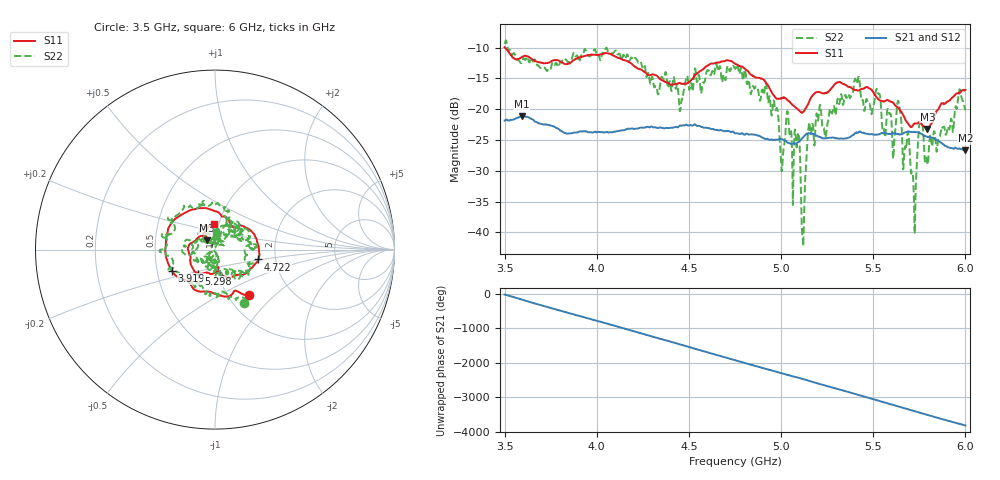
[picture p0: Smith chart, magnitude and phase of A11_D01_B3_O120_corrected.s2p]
! Created with skrf 1.9.0 (http://scikit-rf.org).
# Hz S RI R 50.0
!freq ReS11 ImS11 ReS21 ImS21 ReS12 ImS12 ReS22 ImS22
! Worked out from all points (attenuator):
!   1601 points, 3.5 GHz to 6 GHz, reference 50 ohm
!   highest |S21| = -21.17 dB at 3.592 GHz (marker M1); lowest = -26.7 dB at 6 GHz (marker M2)
!   lowest |S11| = -23.2 dB at 5.794 GHz (marker M3), VSWR 1.15, Z = 45.3 + j4.67 ohm
!   |S11| at or under -10 dB: 3.502 GHz to end of sweep
!   |S22| runs from -42.2 to -8.8 dB; largest |S21 - S12| = 0.0012
!   S11 on the Smith chart (normalised r, x): 3.5 GHz: 1.25, -0.71; 3.919 GHz: 0.60, -0.15; 4.722 GHz: 1.62, -0.19; 5.298 GHz: 0.80, -0.22; 6 GHz: 0.95, +0.28
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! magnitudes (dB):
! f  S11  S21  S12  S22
! 3.5 GHz  -10.0  -21.8  -21.8  -9.4
! 3.592 GHz  -11.6  -21.2  -21.2  -12.5
! 3.917 GHz  -11.5  -23.6  -23.6  -11.2
! 3.919 GHz  -11.5  -23.6  -23.6  -11.2
! 4.334 GHz  -14.8  -23.0  -23.0  -17.5
! 4.722 GHz  -12.1  -23.6  -23.6  -13.8
! 4.75 GHz  -12.6  -23.9  -23.8  -13.4
! 4.969 GHz  -18.1  -25.0  -24.9  -20.1
! 5.005 GHz  -18.2  -24.8  -24.9  -29.7
! 5.086 GHz  -19.9  -25.5  -25.5  -25.9
! 5.119 GHz  -20.5  -24.6  -24.5  -41.5
! 5.145 GHz  -19.2  -23.9  -23.9  -24.0
! 5.167 GHz  -17.9  -24.0  -23.9  -22.9
! 5.298 GHz  -15.8  -24.7  -24.7  -20.4
! 5.412 GHz  -16.9  -23.8  -23.8  -15.8
! 5.584 GHz  -18.6  -24.0  -24.0  -20.3
! 5.611 GHz  -19.0  -23.9  -23.8  -27.2
! 5.641 GHz  -20.0  -24.1  -24.1  -19.3
! 5.719 GHz  -22.4  -23.7  -23.7  -32.8
! 5.756 GHz  -22.1  -23.9  -23.9  -22.5
! 5.794 GHz  -23.2  -24.5  -24.5  -28.8
! 6 GHz  -16.8  -26.7  -26.6  -20.1
